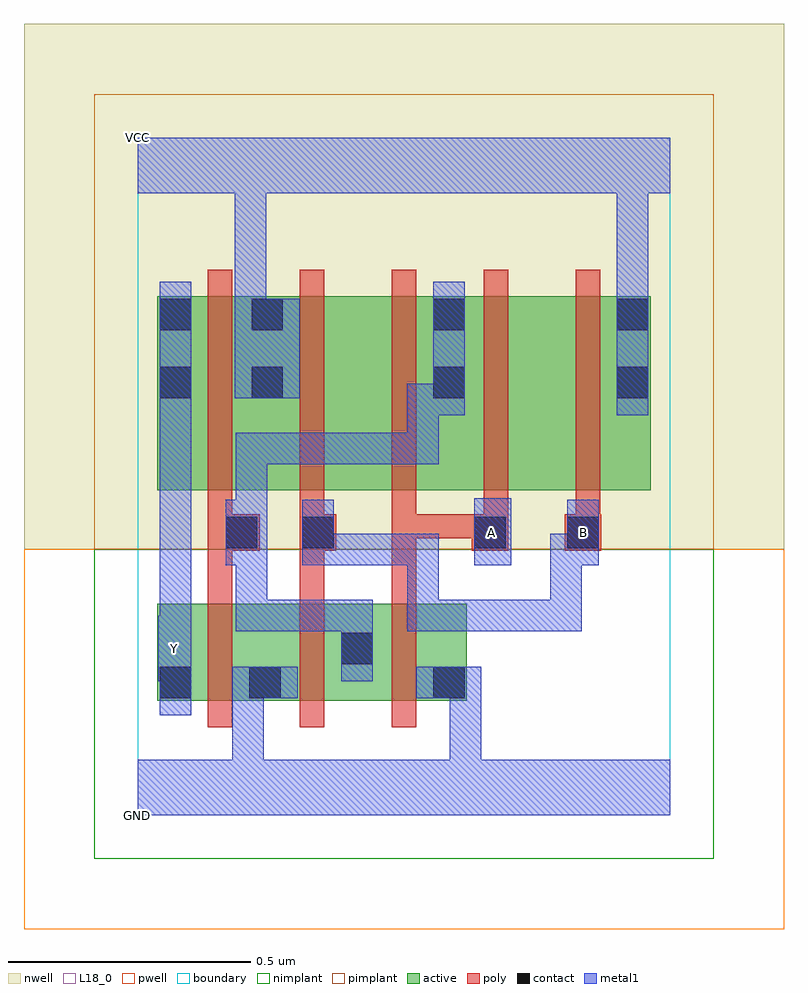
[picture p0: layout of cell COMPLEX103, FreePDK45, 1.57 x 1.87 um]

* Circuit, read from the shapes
.subckt COMPLEX103 A B GND VCC Y
M1 GND n1 Y VSUBS nfet w=0.2u l=0.05u
M2 n1 B GND VSUBS nfet w=0.2u l=0.05u
M3 GND A n1 VSUBS nfet w=0.2u l=0.05u
M4 VCC n1 Y n2 pfet w=0.4u l=0.05u
M5 n3 B VCC n2 pfet w=0.4u l=0.05u
M6 n1 A n3 n2 pfet w=0.4u l=0.05u
M7 n4 A n1 n2 pfet w=0.4u l=0.05u
M8 VCC B n4 n2 pfet w=0.4u l=0.05u
.ends

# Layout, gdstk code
import gdstk
lib = gdstk.Library(unit=1e-6, precision=1e-09)
def R(c, l, rs):  # rectangles x0, y0, x1, y1
    for r in rs: c.add(gdstk.rectangle(r[:2], r[2:], *l))
def A(c, l, x, y, w, h, nx, ny, dx, dy):  # array of equal rectangles
    R(c, l, [(x+i*dx, y+j*dy, x+i*dx+w, y+j*dy+h) for i in range(nx) for j in range(ny)])
active = (1, 0)
pwell = (2, 0)
nwell = (3, 0)
nimplant = (4, 0)
pimplant = (5, 0)
poly = (9, 0)
contact = (10, 0)
metal1 = (11, 0)
L18_0 = (18, 0)
boundary = (235, 0)

complex103 = lib.new_cell('COMPLEX103')
R(complex103, active, [(0.04,0.237,0.115,0.437), (0.04,0.237,0.3,0.437), (0.225,0.237,0.49,0.437), (0.225,0.237,0.3,0.312), (0.415,0.237,0.68,0.437), (0.415,0.237,0.49,0.382), (0.605,0.237,0.68,0.437), (0.04,0.672,0.115,1.072), (0.04,0.672,0.305,1.072), (0.23,0.672,0.305,1.072), (0.23,0.672,0.455,1.072), (0.455,0.672,0.68,1.072), (0.605,0.672,0.68,1.072), (0.605,0.672,0.835,1.072), (0.835,0.672,1.06,1.072), (0.985,0.672,1.06,1.072)])
R(complex103, pwell, [(-0.235,-0.235,1.335,0.55)])
R(complex103, nwell, [(-0.235,0.55,1.335,1.635)])
R(complex103, nimplant, [(-0.09,-0.09,1.19,0.55)])
R(complex103, pimplant, [(-0.09,0.55,1.19,1.49)])
A(complex103, poly, 0.145, 0.182, 0.05, 0.31, 3, 1, 0.19, 0)
A(complex103, poly, 0.145, 0.572, 0.05, 0.095, 5, 1, 0.19, 0)
A(complex103, poly, 0.145, 0.617, 0.05, 0.51, 5, 1, 0.19, 0)
R(complex103, poly, [(0.145,0.442,0.195,0.597), (0.335,0.442,0.385,0.597), (0.525,0.442,0.575,0.622), (0.145,0.547,0.252,0.622), (0.335,0.547,0.41,0.622), (0.69,0.547,0.765,0.622), (0.882,0.547,0.957,0.622), (0.525,0.572,0.575,0.622), (0.525,0.572,0.74,0.622), (0.69,0.572,0.74,0.622), (0.69,0.572,0.74,0.622)])
R(complex103, contact, [(0.045,0.242,0.11,0.307), (0.23,0.242,0.295,0.307), (0.61,0.242,0.675,0.307), (0.42,0.312,0.485,0.377), (0.182,0.552,0.247,0.617), (0.34,0.552,0.405,0.617), (0.695,0.552,0.76,0.617), (0.887,0.552,0.952,0.617), (0.045,0.862,0.11,0.927), (0.235,0.862,0.3,0.927), (0.61,0.862,0.675,0.927), (0.99,0.862,1.055,0.927), (0.045,1.002,0.11,1.067), (0.235,1.002,0.3,1.067), (0.61,1.002,0.675,1.067), (0.99,1.002,1.055,1.067)])
R(complex103, metal1, [(0,0,1.1,0.115), (0.195,0.05,0.26,0.115), (0.195,0.05,0.26,0.115), (0.195,0.05,0.26,0.275), (0.645,0.05,0.71,0.115), (0.645,0.05,0.71,0.115), (0.645,0.05,0.71,0.115), (0.645,0.05,0.71,0.115), (0.645,0.05,0.71,0.307), (0.045,0.207,0.11,0.342), (0.195,0.21,0.26,0.275), (0.195,0.21,0.26,0.307), (0.195,0.242,0.33,0.307), (0.575,0.242,0.71,0.307), (0.042,0.277,0.11,0.412), (0.045,0.277,0.11,0.342), (0.42,0.277,0.485,0.412), (0.045,0.347,0.11,0.892), (0.42,0.347,0.485,0.412), (0.42,0.347,0.485,0.445), (0.202,0.38,0.267,0.445), (0.202,0.38,0.267,0.582), (0.202,0.38,0.485,0.445), (0.557,0.38,0.622,0.445), (0.557,0.38,0.622,0.582), (0.557,0.38,0.76,0.445), (0.695,0.38,0.76,0.445), (0.695,0.38,0.917,0.445), (0.852,0.38,0.917,0.445), (0.852,0.38,0.917,0.582), (0.182,0.517,0.247,0.652), (0.182,0.517,0.267,0.582), (0.202,0.517,0.267,0.582), (0.202,0.517,0.267,0.79), (0.34,0.517,0.405,0.582), (0.34,0.517,0.405,0.582), (0.34,0.517,0.405,0.652), (0.34,0.517,0.622,0.582), (0.557,0.517,0.622,0.582), (0.557,0.517,0.622,0.582), (0.557,0.517,0.622,0.582), (0.695,0.517,0.772,0.655), (0.852,0.517,0.917,0.582), (0.852,0.517,0.952,0.582), (0.887,0.517,0.952,0.652), (0.202,0.725,0.267,0.79), (0.202,0.725,0.405,0.79), (0.34,0.725,0.405,0.79), (0.34,0.725,0.405,0.79), (0.34,0.725,0.405,0.79), (0.34,0.725,0.622,0.79), (0.557,0.725,0.622,0.892), (0.045,0.827,0.11,1.102), (0.557,0.827,0.675,0.892), (0.61,0.827,0.675,1.102), (0.99,0.827,1.055,1.102), (0.2,0.862,0.335,1.067), (0.2,1.002,0.265,1.35), (0.99,1.037,1.055,1.35), (0,1.285,1.1,1.4), (0.2,1.285,0.265,1.35), (0.2,1.285,0.265,1.35), (0.99,1.285,1.055,1.35), (0.99,1.285,1.055,1.35)])
R(complex103, L18_0, [(0,0,1.1,0.115), (0.195,0.05,0.26,0.115), (0.195,0.05,0.26,0.115), (0.195,0.05,0.26,0.275), (0.645,0.05,0.71,0.115), (0.645,0.05,0.71,0.115), (0.645,0.05,0.71,0.115), (0.645,0.05,0.71,0.115), (0.645,0.05,0.71,0.307), (0.045,0.207,0.11,0.342), (0.195,0.21,0.26,0.275), (0.195,0.21,0.26,0.307), (0.195,0.242,0.33,0.307), (0.575,0.242,0.71,0.307), (0.042,0.277,0.11,0.412), (0.045,0.277,0.11,0.342), (0.042,0.312,0.107,0.377), (0.045,0.347,0.11,0.892), (0.557,0.38,0.622,0.445), (0.557,0.38,0.622,0.582), (0.557,0.38,0.76,0.445), (0.695,0.38,0.76,0.445), (0.695,0.38,0.917,0.445), (0.852,0.38,0.917,0.445), (0.852,0.38,0.917,0.582), (0.34,0.517,0.405,0.652), (0.34,0.517,0.405,0.582), (0.34,0.517,0.405,0.582), (0.34,0.517,0.622,0.582), (0.557,0.517,0.622,0.582), (0.557,0.517,0.622,0.582), (0.557,0.517,0.622,0.582), (0.695,0.517,0.772,0.655), (0.852,0.517,0.917,0.582), (0.852,0.517,0.952,0.582), (0.887,0.517,0.952,0.652), (0.697,0.552,0.762,0.617), (0.887,0.552,0.952,0.617), (0.045,0.827,0.11,1.102), (0.99,0.827,1.055,1.102), (0.2,0.862,0.335,1.067), (0.2,1.002,0.265,1.35), (0.99,1.037,1.055,1.35), (0,1.285,1.1,1.4), (0.2,1.285,0.265,1.35), (0.2,1.285,0.265,1.35), (0.99,1.285,1.055,1.35), (0.99,1.285,1.055,1.35)])
R(complex103, boundary, [(0,0,1.1,1.4)])
complex103.add(gdstk.Label('A', (0.73,0.585), layer=11, texttype=0))
complex103.add(gdstk.Label('B', (0.92,0.585), layer=11, texttype=0))
complex103.add(gdstk.Label('Y', (0.075,0.345), layer=11, texttype=0))
complex103.add(gdstk.Label('VCC', (0,1.4), layer=11, texttype=0))
complex103.add(gdstk.Label('GND', (0,0), layer=11, texttype=0))

lib.write_gds('COMPLEX103.gds')
